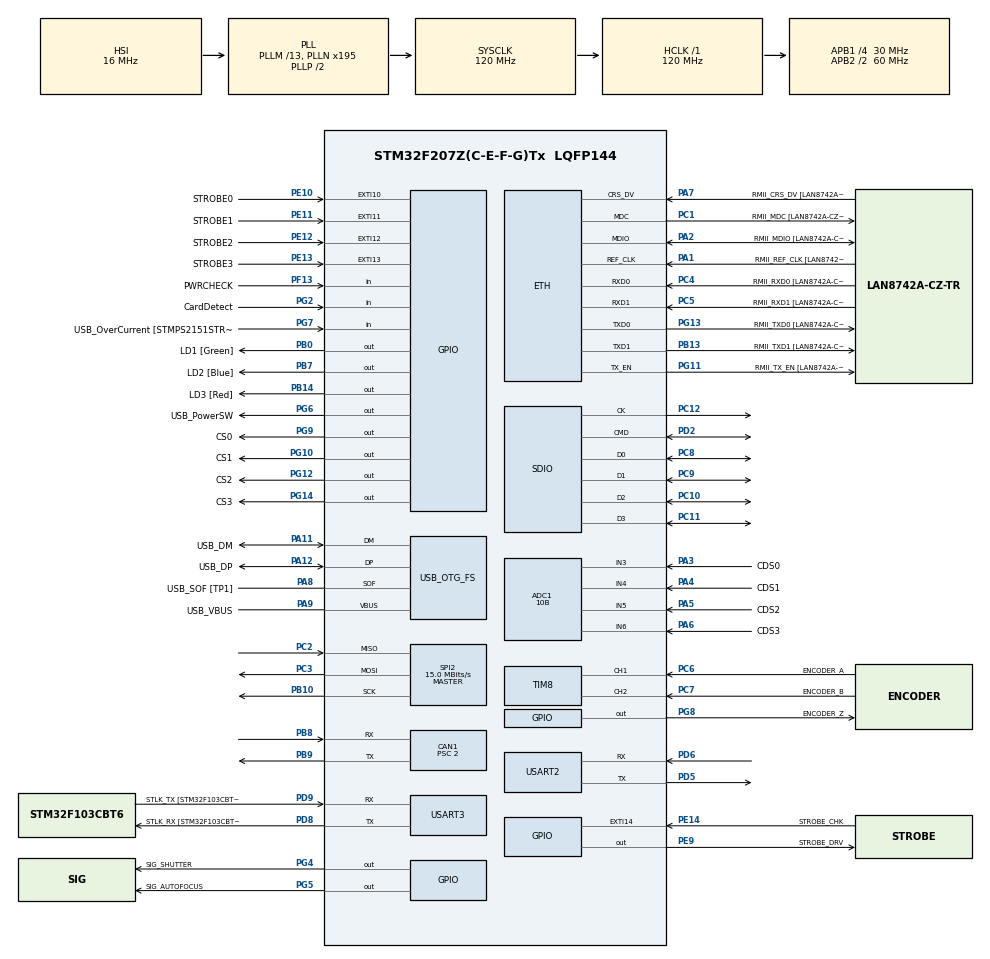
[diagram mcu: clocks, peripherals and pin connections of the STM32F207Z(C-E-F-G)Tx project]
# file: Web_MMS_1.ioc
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ADC1.Channel-0\#ChannelRegularConversion=ADC_CHANNEL_3
ADC1.Channel-1\#ChannelRegularConversion=ADC_CHANNEL_4
ADC1.Channel-2\#ChannelRegularConversion=ADC_CHANNEL_5
ADC1.Channel-3\#ChannelRegularConversion=ADC_CHANNEL_6
ADC1.NbrOfConversion=4
ADC1.NbrOfConversionFlag=1
ADC1.Rank-0\#ChannelRegularConversion=1
ADC1.Rank-1\#ChannelRegularConversion=2
ADC1.Rank-2\#ChannelRegularConversion=3
ADC1.Rank-3\#ChannelRegularConversion=4
ADC1.Resolution=ADC_RESOLUTION_10B
ADC1.SamplingTime-0\#ChannelRegularConversion=ADC_SAMPLETIME_3CYCLES
ADC1.SamplingTime-1\#ChannelRegularConversion=ADC_SAMPLETIME_3CYCLES
ADC1.SamplingTime-2\#ChannelRegularConversion=ADC_SAMPLETIME_3CYCLES
ADC1.SamplingTime-3\#ChannelRegularConversion=ADC_SAMPLETIME_3CYCLES
ADC1.master=1
CAN1.BS1=CAN_BS1_12TQ
CAN1.BS2=CAN_BS2_2TQ
CAN1.CalculateTimeQuantum=66.66666666666667
CAN1.Prescaler=2
Dma.ADC1.0.Direction=DMA_PERIPH_TO_MEMORY
Dma.ADC1.0.FIFOMode=DMA_FIFOMODE_DISABLE
Dma.ADC1.0.Instance=DMA2_Stream0
Dma.ADC1.0.MemDataAlignment=DMA_MDATAALIGN_WORD
Dma.ADC1.0.MemInc=DMA_MINC_ENABLE
Dma.ADC1.0.Mode=DMA_CIRCULAR
Dma.ADC1.0.PeriphDataAlignment=DMA_PDATAALIGN_WORD
Dma.ADC1.0.PeriphInc=DMA_PINC_DISABLE
Dma.ADC1.0.Priority=DMA_PRIORITY_LOW
Dma.Request0=ADC1
Dma.Request1=SDIO_RX
Dma.Request2=SDIO_TX
Dma.Request3=SPI2_RX
Dma.Request4=SPI2_TX
Dma.Request5=USART2_RX
Dma.Request6=USART2_TX
Dma.SDIO_RX.1.Direction=DMA_PERIPH_TO_MEMORY
Dma.SDIO_RX.1.FIFOMode=DMA_FIFOMODE_ENABLE
Dma.SDIO_RX.1.FIFOThreshold=DMA_FIFO_THRESHOLD_FULL
Dma.SDIO_RX.1.Instance=DMA2_Stream3
Dma.SDIO_RX.1.MemBurst=DMA_MBURST_INC4
Dma.SDIO_RX.1.MemDataAlignment=DMA_MDATAALIGN_WORD
Dma.SDIO_RX.1.MemInc=DMA_MINC_ENABLE
Dma.SDIO_RX.1.Mode=DMA_PFCTRL
Dma.SDIO_RX.1.PeriphBurst=DMA_PBURST_INC4
Dma.SDIO_RX.1.PeriphDataAlignment=DMA_PDATAALIGN_WORD
Dma.SDIO_RX.1.PeriphInc=DMA_PINC_DISABLE
Dma.SDIO_RX.1.Priority=DMA_PRIORITY_LOW
Dma.SDIO_TX.2.Direction=DMA_MEMORY_TO_PERIPH
Dma.SDIO_TX.2.FIFOMode=DMA_FIFOMODE_ENABLE
Dma.SDIO_TX.2.FIFOThreshold=DMA_FIFO_THRESHOLD_FULL
Dma.SDIO_TX.2.Instance=DMA2_Stream6
Dma.SDIO_TX.2.MemBurst=DMA_MBURST_INC4
Dma.SDIO_TX.2.MemDataAlignment=DMA_MDATAALIGN_WORD
Dma.SDIO_TX.2.MemInc=DMA_MINC_ENABLE
Dma.SDIO_TX.2.Mode=DMA_PFCTRL
Dma.SDIO_TX.2.PeriphBurst=DMA_PBURST_INC4
Dma.SDIO_TX.2.PeriphDataAlignment=DMA_PDATAALIGN_WORD
Dma.SDIO_TX.2.PeriphInc=DMA_PINC_DISABLE
Dma.SDIO_TX.2.Priority=DMA_PRIORITY_LOW
Dma.SPI2_RX.3.Direction=DMA_PERIPH_TO_MEMORY
Dma.SPI2_RX.3.FIFOMode=DMA_FIFOMODE_DISABLE
Dma.SPI2_RX.3.Instance=DMA1_Stream3
Dma.SPI2_RX.3.MemDataAlignment=DMA_MDATAALIGN_BYTE
Dma.SPI2_RX.3.MemInc=DMA_MINC_ENABLE
Dma.SPI2_RX.3.Mode=DMA_NORMAL
Dma.SPI2_RX.3.PeriphDataAlignment=DMA_PDATAALIGN_BYTE
Dma.SPI2_RX.3.PeriphInc=DMA_PINC_DISABLE
Dma.SPI2_RX.3.Priority=DMA_PRIORITY_LOW
Dma.SPI2_TX.4.Direction=DMA_MEMORY_TO_PERIPH
Dma.SPI2_TX.4.FIFOMode=DMA_FIFOMODE_DISABLE
Dma.SPI2_TX.4.Instance=DMA1_Stream4
Dma.SPI2_TX.4.MemDataAlignment=DMA_MDATAALIGN_BYTE
Dma.SPI2_TX.4.MemInc=DMA_MINC_ENABLE
Dma.SPI2_TX.4.Mode=DMA_NORMAL
Dma.SPI2_TX.4.PeriphDataAlignment=DMA_PDATAALIGN_BYTE
Dma.SPI2_TX.4.PeriphInc=DMA_PINC_DISABLE
Dma.SPI2_TX.4.Priority=DMA_PRIORITY_LOW
Dma.USART2_RX.5.Direction=DMA_PERIPH_TO_MEMORY
Dma.USART2_RX.5.FIFOMode=DMA_FIFOMODE_DISABLE
Dma.USART2_RX.5.Instance=DMA1_Stream5
Dma.USART2_RX.5.MemDataAlignment=DMA_MDATAALIGN_BYTE
Dma.USART2_RX.5.MemInc=DMA_MINC_ENABLE
Dma.USART2_RX.5.Mode=DMA_NORMAL
Dma.USART2_RX.5.PeriphDataAlignment=DMA_PDATAALIGN_BYTE
Dma.USART2_RX.5.PeriphInc=DMA_PINC_DISABLE
Dma.USART2_RX.5.Priority=DMA_PRIORITY_LOW
Dma.USART2_TX.6.Direction=DMA_MEMORY_TO_PERIPH
Dma.USART2_TX.6.FIFOMode=DMA_FIFOMODE_DISABLE
Dma.USART2_TX.6.Instance=DMA1_Stream6
Dma.USART2_TX.6.MemDataAlignment=DMA_MDATAALIGN_BYTE
Dma.USART2_TX.6.MemInc=DMA_MINC_ENABLE
Dma.USART2_TX.6.Mode=DMA_NORMAL
Dma.USART2_TX.6.PeriphDataAlignment=DMA_PDATAALIGN_BYTE
Dma.USART2_TX.6.PeriphInc=DMA_PINC_DISABLE
Dma.USART2_TX.6.Priority=DMA_PRIORITY_LOW
ETH.MediaInterface=ETH_MEDIA_INTERFACE_RMII
ETH.PHY_Name=LAN8742A_PHY_ADDRESS
ETH.PHY_Value=0
ETH.PhyAddress=0
FATFS.BSP.number=1
FATFS._CODE_PAGE=949
FATFS._LFN_UNICODE=1
FATFS._USE_LFN=2
FATFS0.BSP.STBoard=false
FATFS0.BSP.api=Unknown
FATFS0.BSP.i2caddr=0
FATFS0.BSP.instance=PG2
FATFS0.BSP.ip=GPIO
FATFS0.BSP.mode=Input
FATFS0.BSP.name=Detect_SDIO
FATFS0.BSP.solution=PG2
LWIP.GATEWAY_ADDRESS=192.168.001.001
LWIP.IP_ADDRESS=192.168.001.230
LWIP.LWIP_DHCP=0
LWIP.LWIP_ICMP=1
LWIP.LWIP_TCP=0
LWIP.NETMASK_ADDRESS=255.255.255.000
LWIP.Version=v2.0.3_Cube
Mcu.Family=STM32F2
Mcu.Name=STM32F207Z(C-E-F-G)Tx
Mcu.Package=LQFP144
NVIC.ADC_IRQn=true\:1\:0\:true\:false\:true\:true\:true
NVIC.CAN1_RX0_IRQn=true\:1\:0\:true\:false\:true\:true\:true
NVIC.CAN1_RX1_IRQn=true\:1\:0\:true\:false\:true\:true\:true
NVIC.CAN1_SCE_IRQn=true\:1\:0\:true\:false\:true\:true\:true
NVIC.CAN1_TX_IRQn=true\:1\:0\:true\:false\:true\:true\:true
NVIC.DMA1_Stream3_IRQn=true\:1\:0\:true\:false\:true\:false\:true
NVIC.DMA1_Stream4_IRQn=true\:1\:0\:true\:false\:true\:false\:true
NVIC.DMA1_Stream5_IRQn=true\:1\:0\:true\:false\:true\:false\:true
NVIC.DMA1_Stream6_IRQn=true\:1\:0\:true\:false\:true\:false\:true
NVIC.DMA2_Stream0_IRQn=true\:1\:0\:true\:false\:true\:false\:true
NVIC.DMA2_Stream3_IRQn=true\:1\:0\:true\:false\:true\:false\:true
NVIC.DMA2_Stream6_IRQn=true\:1\:0\:true\:false\:true\:false\:true
NVIC.ETH_IRQn=true\:1\:0\:true\:false\:true\:true\:true
NVIC.ETH_WKUP_IRQn=true\:1\:0\:true\:false\:true\:true\:true
NVIC.EXTI15_10_IRQn=true\:0\:0\:true\:false\:true\:true\:true
NVIC.OTG_FS_IRQn=true\:1\:0\:true\:false\:true\:false\:true
NVIC.PriorityGroup=NVIC_PRIORITYGROUP_4
NVIC.SDIO_IRQn=true\:1\:0\:true\:false\:true\:true\:true
NVIC.SPI2_IRQn=true\:1\:0\:true\:false\:true\:true\:true
NVIC.TIM3_IRQn=true\:1\:0\:true\:false\:true\:true\:true
NVIC.USART2_IRQn=true\:1\:0\:true\:false\:true\:true\:true
PA1.GPIO_Label=RMII_REF_CLK [LAN8742A-CZ-TR_REFCLK0]
PA1.Mode=RMII
PA1.Signal=ETH_REF_CLK
PA10.GPIO_Label=USB_ID
PA10.Signal=USB_OTG_FS_ID
PA11.GPIO_Label=USB_DM
PA11.Mode=Device_Only
PA11.Signal=USB_OTG_FS_DM
PA12.GPIO_Label=USB_DP
PA12.Mode=Device_Only
PA12.Signal=USB_OTG_FS_DP
PA13.GPIO_Label=TMS
PA13.Mode=Serial_Wire
PA13.Signal=SYS_JTMS-SWDIO
PA14.GPIO_Label=TCK
PA14.Mode=Serial_Wire
PA14.Signal=SYS_JTCK-SWCLK
PA2.GPIO_Label=RMII_MDIO [LAN8742A-CZ-TR_MDIO]
PA2.Mode=RMII
PA2.Signal=ETH_MDIO
PA3.GPIO_Label=CDS0
PA3.Signal=ADCx_IN3
PA4.GPIO_Label=CDS1
PA4.Signal=ADCx_IN4
PA5.GPIO_Label=CDS2
PA5.Signal=ADCx_IN5
PA6.GPIO_Label=CDS3
PA6.Signal=ADCx_IN6
PA7.GPIO_Label=RMII_CRS_DV [LAN8742A-CZ-TR_CRS_DV]
PA7.Mode=RMII
PA7.Signal=ETH_CRS_DV
PA8.GPIO_Label=USB_SOF [TP1]
PA8.Mode=Activate_SOF_FS
PA8.Signal=USB_OTG_FS_SOF
PA9.GPIO_Label=USB_VBUS
PA9.Mode=Activate_VBUS
PA9.Signal=USB_OTG_FS_VBUS
PB0.GPIO_Label=LD1 [Green]
PB0.GPIO_Speed=GPIO_SPEED_FREQ_VERY_HIGH
PB0.Signal=GPIO_Output
PB10.Mode=Full_Duplex_Master
PB10.Signal=SPI2_SCK
PB13.GPIO_Label=RMII_TXD1 [LAN8742A-CZ-TR_TXD1]
PB13.Mode=RMII
PB13.Signal=ETH_TXD1
PB14.GPIO_Label=LD3 [Red]
PB14.GPIO_Speed=GPIO_SPEED_FREQ_VERY_HIGH
PB14.Signal=GPIO_Output
PB3.GPIO_Label=SWO
PB3.Signal=SYS_JTDO-SWO
PB7.GPIO_Label=LD2 [Blue]
PB7.GPIO_Speed=GPIO_SPEED_FREQ_VERY_HIGH
PB7.Signal=GPIO_Output
PB8.Mode=Master
PB8.Signal=CAN1_RX
PB9.Mode=Master
PB9.Signal=CAN1_TX
PC1.GPIO_Label=RMII_MDC [LAN8742A-CZ-TR_MDC]
PC1.Mode=RMII
PC1.Signal=ETH_MDC
PC10.GPIO_PuPd=GPIO_PULLUP
PC10.Mode=SD_4_bits_Wide_bus
PC10.Signal=SDIO_D2
PC11.GPIO_PuPd=GPIO_PULLUP
PC11.Mode=SD_4_bits_Wide_bus
PC11.Signal=SDIO_D3
PC12.GPIO_PuPd=GPIO_NOPULL
PC12.Mode=SD_4_bits_Wide_bus
PC12.Signal=SDIO_CK
PC14-OSC32_IN.Mode=LSE-External-Oscillator
PC14-OSC32_IN.Signal=RCC_OSC32_IN
PC15-OSC32_OUT.Mode=LSE-External-Oscillator
PC15-OSC32_OUT.Signal=RCC_OSC32_OUT
PC2.Mode=Full_Duplex_Master
PC2.Signal=SPI2_MISO
PC3.Mode=Full_Duplex_Master
PC3.Signal=SPI2_MOSI
PC4.GPIO_Label=RMII_RXD0 [LAN8742A-CZ-TR_RXD0]
PC4.Mode=RMII
PC4.Signal=ETH_RXD0
PC5.GPIO_Label=RMII_RXD1 [LAN8742A-CZ-TR_RXD1]
PC5.Mode=RMII
PC5.Signal=ETH_RXD1
PC6.GPIO_Label=ENCODER_A
PC6.Signal=S_TIM8_CH1
PC7.GPIO_Label=ENCODER_B
PC7.Signal=S_TIM8_CH2
PC8.GPIO_PuPd=GPIO_PULLUP
PC8.Mode=SD_4_bits_Wide_bus
PC8.Signal=SDIO_D0
PC9.GPIO_PuPd=GPIO_PULLUP
PC9.Mode=SD_4_bits_Wide_bus
PC9.Signal=SDIO_D1
PD2.GPIO_PuPd=GPIO_PULLUP
PD2.Mode=SD_4_bits_Wide_bus
PD2.Signal=SDIO_CMD
PD5.Mode=Asynchronous
PD5.Signal=USART2_TX
PD6.Mode=Asynchronous
PD6.Signal=USART2_RX
PD8.GPIO_Label=STLK_RX [STM32F103CBT6_PA3]
PD8.Mode=Asynchronous
PD8.Signal=USART3_TX
PD9.GPIO_Label=STLK_TX [STM32F103CBT6_PA2]
PD9.Mode=Asynchronous
PD9.Signal=USART3_RX
PE10.GPIO_Label=STROBE0
PE10.Signal=GPXTI10
PE11.GPIO_Label=STROBE1
PE11.Signal=GPXTI11
PE12.GPIO_Label=STROBE2
PE12.Signal=GPXTI12
PE13.GPIO_Label=STROBE3
PE13.Signal=GPXTI13
PE14.GPIO_Label=STROBE_CHK
PE14.Signal=GPXTI14
PE9.GPIO_Label=STROBE_DRV
PE9.GPIO_Speed=GPIO_SPEED_FREQ_VERY_HIGH
PE9.Signal=GPIO_Output
PF13.GPIO_Label=PWRCHECK
PF13.GPIO_PuPd=GPIO_PULLDOWN
PF13.Signal=GPIO_Input
PG10.GPIO_Label=CS1
PG10.Signal=GPIO_Output
PG11.GPIO_Label=RMII_TX_EN [LAN8742A-CZ-TR_TXEN]
PG11.Mode=RMII
PG11.Signal=ETH_TX_EN
PG12.GPIO_Label=CS2
PG12.Signal=GPIO_Output
PG13.GPIO_Label=RMII_TXD0 [LAN8742A-CZ-TR_TXD0]
PG13.Mode=RMII
PG13.Signal=ETH_TXD0
PG14.GPIO_Label=CS3
PG14.Signal=GPIO_Output
PG2.GPIO_Label=CardDetect
PG2.GPIO_PuPd=GPIO_PULLUP
PG2.Signal=GPIO_Input
PG4.GPIO_Label=SIG_SHUTTER
PG4.GPIO_Speed=GPIO_SPEED_FREQ_VERY_HIGH
PG4.Signal=GPIO_Output
PG5.GPIO_Label=SIG_AUTOFOCUS
PG5.Signal=GPIO_Output
PG6.GPIO_Label=USB_PowerSW
PG6.Signal=GPIO_Output
PG7.GPIO_Label=USB_OverCurrent [STMPS2151STR_FAULT]
PG7.Signal=GPIO_Input
PG8.GPIO_Label=ENCODER_Z
PG8.Signal=GPIO_Output
PG9.GPIO_Label=CS0
PG9.Signal=GPIO_Output
PH0-OSC_IN.GPIO_Label=MCO [STM32F103CBT6_PA8]
PH0-OSC_IN.Mode=HSE-External-Clock-Source
PH0-OSC_IN.Signal=RCC_OSC_IN
PH1-OSC_OUT.Mode=HSE-External-Clock-Source
PH1-OSC_OUT.Signal=RCC_OSC_OUT
ProjectManager.HeapSize=0x400
ProjectManager.StackSize=0x400
ProjectManager.TargetToolchain=MDK-ARM V5.27
RCC.48MHZClocksFreq_Value=48000000
RCC.AHBFreq_Value=120000000
RCC.APB1CLKDivider=RCC_HCLK_DIV4
RCC.APB1Freq_Value=30000000
RCC.APB1TimFreq_Value=60000000
RCC.APB2CLKDivider=RCC_HCLK_DIV2
RCC.APB2Freq_Value=60000000
RCC.APB2TimFreq_Value=120000000
RCC.CortexFreq_Value=120000000
RCC.HCLKFreq_Value=120000000
RCC.HSE_VALUE=8000000
RCC.HSI_VALUE=16000000
RCC.PLLM=13
RCC.PLLMUL=RCC_PLL_MUL9
RCC.PLLN=195
RCC.PLLQ=5
RCC.PRESCALERUSB=RCC_USBCLKSOURCE_PLL_DIV1_5
RCC.SYSCLKFreq_VALUE=120000000
RCC.SYSCLKSource=RCC_SYSCLKSOURCE_PLLCLK
RCC.SYSCLKSourceVirtual=RCC_SYSCLKSOURCE_PLLCLK
RCC.USBFreq_Value=48000000
RCC.VCOOutputFreq_Value=240000000
SDIO.ClockDiv=1
SH.ADCx_IN3.0=ADC1_IN3,IN3
SH.ADCx_IN4.0=ADC1_IN4,IN4
SH.ADCx_IN5.0=ADC1_IN5,IN5
SH.ADCx_IN6.0=ADC1_IN6,IN6
SH.S_TIM8_CH1.0=TIM8_CH1,Encoder_Interface
SH.S_TIM8_CH2.0=TIM8_CH2,Encoder_Interface
SPI2.CalculateBaudRate=15.0 MBits/s
SPI2.Direction=SPI_DIRECTION_2LINES
SPI2.Mode=SPI_MODE_MASTER
SPI2.VirtualType=VM_MASTER
TIM3.Period=44
TIM3.Prescaler=5999
TIM8.AutoReloadPreload=TIM_AUTORELOAD_PRELOAD_ENABLE
TIM8.EncoderMode=TIM_ENCODERMODE_TI1
USART2.VirtualMode=VM_ASYNC
USART3.VirtualMode=VM_ASYNC
USB_DEVICE.APP_RX_DATA_SIZE-CDC_FS=200
USB_DEVICE.APP_TX_DATA_SIZE-CDC_FS=200
USB_DEVICE.CLASS_NAME_FS=CDC
USB_DEVICE.MANUFACTURER_STRING-CDC_FS=Stryx.Inc
USB_DEVICE.PRODUCT_STRING_CDC_FS=WebMMS_Main
USB_DEVICE.VirtualMode-CDC_FS=Cdc
USB_DEVICE.VirtualModeFS=Cdc_FS
USB_OTG_FS.VirtualMode=Device_Only
VP_FATFS_VS_SDIO.Mode=SDIO
VP_LWIP_VS_Enabled.Mode=Enabled
VP_TIM3_VS_ClockSourceINT.Mode=Internal
VP_USB_DEVICE_VS_USB_DEVICE_CDC_FS.Mode=CDC_FS
board=NUCLEO-F207ZG

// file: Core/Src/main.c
/* USER CODE BEGIN Header */
/**
 ******************************************************************************
 * @file           : main.c
 * @brief          : Main program body
 ******************************************************************************
 * @attention
 *
 * <h2><center>&copy; Copyright (c) 2020 STMicroelectronics.
 * All rights reserved.</center></h2>
 *
 * This software component is licensed by ST under BSD 3-Clause license,
 * the "License"; You may not use this file except in compliance with the
 * License. You may obtain a copy of the License at:
 *                        opensource.org/licenses/BSD-3-Clause
 *
 ******************************************************************************
 */
/* USER CODE END Header */
#include "main.h"
#include "fatfs.h"
#include "lwip.h"
#include "usb_device.h"

/* USER CODE BEGIN Includes */
#include <stdio.h>
#include <stdbool.h>
#include <string.h>
#include <stdlib.h>

/* USER CODE END Includes */

/* USER CODE BEGIN PTD */
typedef struct _paramType
{
	//uint32_t encoderPulseCount;
	float wheelRadius; // S version
	//float targetDistance;
	int encoderTargetCount; // I version add
	uint8_t cs;
	uint16_t cv[4];
} __attribute__((aligned(1), packed)) WheelParam;
/* USER CODE END PTD */

/* USER CODE BEGIN PD */
#define BACKUP_FLASH_ADDR 0x080E0000

#define TARGET_PULSE_NUMBER		1

#define DIVISOR					1

#define ENCODER_PULSE_COUNT		2000

#define TARGET_DISTANCE			1.0f
/* USER CODE END PD */

ADC_HandleTypeDef hadc1;
DMA_HandleTypeDef hdma_adc1;

CAN_HandleTypeDef hcan1;

SD_HandleTypeDef hsd;
DMA_HandleTypeDef hdma_sdio_rx;
DMA_HandleTypeDef hdma_sdio_tx;

SPI_HandleTypeDef hspi2;
DMA_HandleTypeDef hdma_spi2_rx;
DMA_HandleTypeDef hdma_spi2_tx;

TIM_HandleTypeDef htim8;

UART_HandleTypeDef huart2;
UART_HandleTypeDef huart3;
DMA_HandleTypeDef hdma_usart2_rx;
DMA_HandleTypeDef hdma_usart2_tx;

/* USER CODE BEGIN PV */

extern struct netif gnetif;

// CAN BUS
CAN_FilterTypeDef sFilterConfig;
CAN_RxHeaderTypeDef RxHeader;
CAN_TxHeaderTypeDef TxHeader;
uint8_t RxData[8];
uint8_t TxData[8]; // uint8_t TxData[8];
uint32_t TxMailBox;

//SD CARD
FATFS SDFatFs; /* File system object for SD disk logical drive */
FIL MyFile; /* File object */
extern char SDPath[4]; /* SD disk logical drive path */
static uint8_t buffer[_MAX_SS]; /* a work buffer for the f_mkfs() */

// DMI
int16_t A_PLS_CNT = 0, B_PLS_CNT = 0;

// USB
bool bFlag = false;
uint8_t UFlag = 0, EnterFlag = 0; // USB Select Flag, Enter key input
char UTxbuf[300], buf[130]; // USB Tx, ADC print buf
extern uint8_t URxbuf[200]; // USB Rx
int usbselect = 2;

// Encoder, ADC, STROBE
uint8_t setcdsvalue;
int adcValue[4]; // ADC DATA SAVE int encoderTargetCount = -1;
uint16_t stb0, stb1, stb2, stb3, stb_all; // STROBE Count
uint8_t stbchk0, stbchk1, stbchk2, stbchk3; // STROBE CHECK FLAG

// UDP FLAG
extern uint8_t udp_flag;
extern uint8_t udp_data;
uint8_t udpIntput = 0;
uint8_t udpStop = 0;

// Camera
uint8_t cameraSelect = 0;
uint8_t cameraValue = 0;

/* USER CODE END PV */

void SystemClock_Config(void);
static void MX_GPIO_Init(void);
static void MX_DMA_Init(void);
static void MX_USART3_UART_Init(void);
static void MX_TIM3_Init(void);
static void MX_ADC1_Init(void);
static void MX_SDIO_SD_Init(void);
static void MX_TIM8_Init(void);
static void MX_SPI2_Init(void);
static void MX_CAN1_Init(void);
static void MX_USART2_UART_Init(void);

/* USER CODE BEGIN 0 */
void HAL_GPIO_EXTI_Callback(uint16_t GPIO_Pin)
{ // Strobe CHK
	if (GPIO_Pin & STROBE0_Pin) // 0x400
	{
		//HAL_GPIO_TogglePin(LD1_GPIO_Port, LD1_Pin);
		stbchk0 = 1;
		stb0++;
	}
	if (GPIO_Pin & STROBE1_Pin) // 0x800
	{
		HAL_GPIO_TogglePin(LD2_GPIO_Port, LD2_Pin);
		stbchk1 = 1;
		stb1++;
	}
	/*
	 if (GPIO_Pin & STROBE2_Pin) // 0x1000
	 {
	 HAL_GPIO_TogglePin(LD3_GPIO_Port, LD3_Pin);
	 stbchk2 = 1;
	 stb2++;
	 }
	 if (GPIO_Pin & STROBE3_Pin) // 0x2000
	 {
	 stbchk3 = 1;
	 stb3++;
	 }

	 if (GPIO_Pin & STROBE_CHK_Pin) // 0x4000
	 {
	 stb_all++;
	 HAL_GPIO_WritePin(STROBE_DRV_GPIO_Port, STROBE_DRV_Pin, SET);
	 }
	 */
	if (stbchk0 == 1 && stbchk1 == 1) // if (stbchk0 == 1 && stbchk1 == 1 && stbchk2 == 1 && stbchk3 == 1)
	{
		HAL_GPIO_TogglePin(LD1_GPIO_Port, LD1_Pin);
		//HAL_GPIO_WritePin(LD1_GPIO_Port, LD1_Pin, SET);
		HAL_GPIO_WritePin(STROBE_DRV_GPIO_Port, STROBE_DRV_Pin, SET);
		stbchk0 = 0;
		stbchk1 = 0;
		stbchk2 = 0;
		stbchk3 = 0;
	}
}

void CAN_Transmit(int data)
{
	TxMailBox = HAL_CAN_GetTxMailboxesFreeLevel(&hcan1);
	/*
	 for (int i = 0; i < 8; i++)
	 {
	 TxData[i] = i + 1;
	 }
	 */
	TxData[0] = data;
	HAL_CAN_AddTxMessage(&hcan1, &TxHeader, TxData, &TxMailBox);
}

void HAL_CAN_RxFifo0MsgPendingCallback(CAN_HandleTypeDef *hcan1)
{

	RxHeader.StdId = 0;         //clear
	HAL_CAN_GetRxMessage(hcan1, CAN_RX_FIFO0, &RxHeader, &RxData[0]);
	if (RxData[0] == 0x01)
	{
		//xFlag = 'a';
		CDC_Transmit_FS((uint8_t*) "USB2 Activated\r\n", 16);
		//HAL_GPIO_TogglePin(STATUS_LED_GPIO_Port, STATUS_LED_Pin);
	}
	if (RxData[0] == 0x02)
	{
		//xFlag = 'b';
		CDC_Transmit_FS((uint8_t*) "USB3 Activated\r\n", 16);
		//HAL_GPIO_TogglePin(STATUS_LED_GPIO_Port, STATUS_LED_Pin);
	}
	//HAL_GPIO_TogglePin(STATUS_LED_GPIO_Port, STATUS_LED_Pin);

	if ((RxHeader.StdId == 0x111) && (RxHeader.IDE == CAN_ID_STD)
			&& (RxHeader.DLC != 0))
	{
		//HAL_GPIO_TogglePin(STATUS_LED_GPIO_Port, STATUS_LED_Pin);
	}
}

void Camera_Configuration(uint8_t camera, uint16_t value)
{
	// SPI 1. CS pin reset >> SPI Transmit >> CS pin set
	switch (camera)
	{
	case 0:
		HAL_GPIO_WritePin(CS0_GPIO_Port, CS0_Pin, RESET);
		HAL_SPI_Transmit(&hspi2, &value, 2, 1000);
		HAL_GPIO_WritePin(CS0_GPIO_Port, CS0_Pin, SET);
		break;
	case 1:
		HAL_GPIO_WritePin(CS1_GPIO_Port, CS1_Pin, RESET);
		HAL_SPI_Transmit(&hspi2, &value, 2, 1000);
		HAL_GPIO_WritePin(CS1_GPIO_Port, CS1_Pin, SET);
		break;
	case 2:
		HAL_GPIO_WritePin(CS2_GPIO_Port, CS2_Pin, RESET);
		HAL_SPI_Transmit(&hspi2, &value, 2, 1000);
		HAL_GPIO_WritePin(CS2_GPIO_Port, CS2_Pin, SET);
		break;
	case 3:
		HAL_GPIO_WritePin(CS3_GPIO_Port, CS3_Pin, RESET);
		HAL_SPI_Transmit(&hspi2, &value, 2, 1000);
		HAL_GPIO_WritePin(CS3_GPIO_Port, CS3_Pin, SET);
		break;
	default:
		break;
	}
}

void UDP_INPUT()
{
	if (udp_data == 'i')
	{
		udp_data = 0;
		udpIntput = 1;
		CDC_Transmit_FS((uint8_t*) "INPUT MODE Activated\r\n", 22);
	}
	else if (udp_data == 's')
	{
		udp_data = 0;
		udpIntput = 0;
	}
	if (udp_flag)
	{
		WheelParam wP;
		wP.encoderTargetCount = atoi(&udp_data);
		udp_flag = 0;
	}
}

void DSLR_Action()
{
	HAL_GPIO_WritePin(SIG_AUTOFOCUS_GPIO_Port, SIG_AUTOFOCUS_Pin, SET);
	HAL_GPIO_WritePin(SIG_SHUTTER_GPIO_Port, SIG_SHUTTER_Pin, SET);
	HAL_GPIO_WritePin(STROBE_DRV_GPIO_Port, STROBE_DRV_Pin, RESET);
	//HAL_Delay(10);
	//HAL_GPIO_WritePin(SIG_AUTOFOCUS_GPIO_Port, SIG_AUTOFOCUS_Pin, RESET);
	//HAL_GPIO_WritePin(SIG_SHUTTER_GPIO_Port, SIG_SHUTTER_Pin, RESET);
	LL_TIM_ClearFlag_UPDATE(TIM3);
	LL_TIM_EnableCounter(TIM3);
}

void FLIR_Action()
{
	HAL_GPIO_WritePin(SIG_SHUTTER_GPIO_Port, SIG_SHUTTER_Pin, SET);
	HAL_GPIO_WritePin(STROBE_DRV_GPIO_Port, STROBE_DRV_Pin, RESET);
}

void ADC_Print()
{
	HAL_ADC_Start_DMA(&hadc1, adcValue, 4);
	for (int i = 0; i < 4; i++)
	{
		HAL_DMA_PollForTransfer(&hdma_adc1, HAL_DMA_FULL_TRANSFER, 1000);
	}
	HAL_ADC_Stop_DMA(&hadc1);
	switch (setcdsvalue)
	{
	case 1:
		break;
		sprintf(buf, "#%04d\r\n", adcValue[0]);
	case 2:
		break;
		sprintf(buf, "#%04d%04d\r\n", adcValue[0], adcValue[1]);
	case 3:
		break;
		sprintf(buf, "#%04d%04d%04d\r\n", adcValue[0], adcValue[1],
				adcValue[2]);
	case 4:
		break;
		sprintf(buf, "#%04d%04d%04d%04d\r\n", adcValue[0], adcValue[1],
				adcValue[2], adcValue[3]);
	default:
		sprintf(buf, "#%04d%04d\r\n", adcValue[0], adcValue[1]);
		break;
	}
//sprintf(buf, "ADC = %04d   %04d   %04d   %04d\r\n", adcValue[0],
//	adcValue[1], adcValue[2], adcValue[3]);
	CDC_Transmit_FS(buf, strlen(buf));
}

float diameter(float radius)
{
	return (2 * 3.1415 * radius);
}

float rotationForShoot(float targetDistance, float wheelDiameter)
{
	return (targetDistance / wheelDiameter);
}

int targetPulseCount(float rotationCount, int encoderPulseCnt)
{
	return (int) ((((rotationCount * encoderPulseCnt) / TARGET_PULSE_NUMBER)
			/ DIVISOR));
}

void SaveWheelParam(WheelParam *wP)
{
	HAL_StatusTypeDef FlashStatus = HAL_OK;
	HAL_FLASH_Unlock();
	{
		FLASH_EraseInitTypeDef fler;
		uint32_t perr;
		fler.TypeErase = FLASH_TYPEERASE_SECTORS;
		fler.Banks = FLASH_BANK_1;
		fler.Sector = FLASH_SECTOR_11;
		fler.NbSectors = 1;

		HAL_FLASHEx_Erase(&fler, &perr);
		register uint32_t *_targetAddr = (uint32_t*) (wP);
		for (uint8_t i = 0; i <= (sizeof(WheelParam) * 2); i +=
				sizeof(uint32_t))
		{
			//FlashStatus = HAL_FLASH_Program(FLASH_TYPEPROGRAM_WORD,
			//BACKUP_FLASH_ADDR + i, _targetAddr[i / sizeof(uint32_t)]);

			while (HAL_FLASH_Program(FLASH_TYPEPROGRAM_WORD,
			BACKUP_FLASH_ADDR + i, _targetAddr[i / sizeof(uint32_t)]) != HAL_OK)
				;

		}
	}
	HAL_FLASH_Lock();
}
/* USER CODE END 0 */

int main(void)
{
	/* USER CODE BEGIN 1 */
//char buf[150];
	WheelParam wP;
	memcpy(&wP, (void*) (BACKUP_FLASH_ADDR), sizeof(WheelParam));

	stb0 = 0;
	stb1 = 0;
	stb2 = 0;
	stb3 = 0;
	stb_all = 0;
	/* USER CODE END 1 */

	/* MCU Configuration--------------------------------------------------------*/

	/* Reset of all peripherals, Initializes the Flash interface and the Systick. */
	HAL_Init();

	/* Configure the system clock */
	SystemClock_Config();

	/* Initialize all configured peripherals */
	MX_GPIO_Init();
	MX_DMA_Init();
	MX_USART3_UART_Init();
	MX_USB_DEVICE_Init();
	MX_TIM3_Init();
	MX_ADC1_Init();
	MX_SDIO_SD_Init();
	MX_TIM8_Init();
	MX_FATFS_Init();
	MX_LWIP_Init();
	MX_SPI2_Init();
	MX_CAN1_Init();
	MX_USART2_UART_Init();
	/* USER CODE BEGIN 2 */
	LL_TIM_EnableIT_UPDATE(TIM3);
	HAL_TIM_Encoder_Start(&htim8, TIM_CHANNEL_1); // DMI TIMER
	udp_echoserver_init(); // UDP

	HAL_CAN_Start(&hcan1); // CANBUS
	HAL_CAN_ActivateNotification(&hcan1, CAN_IT_RX_FIFO0_MSG_PENDING);
	for (int i = 0; i < 4; i += 1)
	{
		Camera_Configuration(i, wP.cv[i]);
		HAL_Delay(10);
	}

	/* USER CODE END 2 */

	/* Infinite loop */
	/* USER CODE BEGIN WHILE */
	UFlag = 0;
	bFlag = 0;
	/*
	 encoderTargetCount = targetPulseCount(
	 rotationForShoot(TARGET_DISTANCE, diameter(wP.wheelRadius)),
	 ENCODER_PULSE_COUNT);
	 */
	while (1)
	{
		/* USER CODE END WHILE */

		/* USER CODE BEGIN 3 */
		// WebMMS S Version
		MX_LWIP_Process();
		UDP_INPUT();
		//Camera_Configuration(cameraSelect, cameraValue);
		switch (UFlag)
		{
		/* I version */
		case 1:
			sprintf(UTxbuf, "EncoderTargetCount= %d\r\n"
					"Chip 0 ~ 3 Value= %d %d %d %d\r\n\r\n"
					"USB Select= %d.0 (default : 2.0)\r\n"
					"Auto triggering= %s\r\n", wP.encoderTargetCount, wP.cv[0],
					wP.cv[1], wP.cv[2], wP.cv[3], usbselect,
					(bFlag == true) ? ("Started\r\n") : ("Disabled\r\n"));
			CDC_Transmit_FS(UTxbuf, strlen(UTxbuf));
			UFlag = 0;
			bFlag = 0;
			break;
		case 2:
			CDC_Transmit_FS((uint8_t*) "Input EncoderTargetCount\r\n", 26);
			while (!EnterFlag)
			{
			}
			EnterFlag = 0;
			wP.encoderTargetCount = atoi(URxbuf);
			UFlag = 0;
			bFlag = 0;
			break;

			/*
			 * S version
			 case 1:
			 sprintf(UTxbuf, "EncoderPulseCnt= %lu\r\n"
			 "Wheel Radius= %0.5f\r\n"
			 "Trigger Distance= %0.2f\r\n"
			 "Target pulse count= %d\r\n\r\n"
			 "Chip 0 ~ 3 Value= %d %d %d %d\r\n\r\n"
			 "USB Select= %d.0 (default : 2.0)\r\n"
			 "Auto triggering= %s\r\n", ENCODER_PULSE_COUNT,
			 wP.wheelRadius, TARGET_DISTANCE, encoderTargetCount,
			 wP.cv[0], wP.cv[1], wP.cv[2], wP.cv[3], usbselect,
			 (bFlag == true) ?
			 ("Started\r\n\r\n") : ("Disabled\r\n\r\n"));
			 CDC_Transmit_FS(UTxbuf, strlen(UTxbuf));
			 UFlag = 0;
			 break;
			 case 2:	//set wheel param
			 CDC_Transmit_FS("Input wheel radius.. > ", 23);
			 while (!EnterFlag)
			 ;
			 EnterFlag = 0;
			 wP.wheelRadius = atof(URxbuf);
			 encoderTargetCount = targetPulseCount(
			 rotationForShoot(TARGET_DISTANCE, diameter(wP.wheelRadius)),
			 ENCODER_PULSE_COUNT);
			 UFlag = 0;
			 break;
			 */

			/*
			 case 3:	//set encoder pulse count;
			 CDC_Transmit_FS("Input encoder pulse cnt.. > ", 28);
			 while (!EnterFlag)
			 ;
			 EnterFlag = 0;
			 wP.encoderPulseCount = atoi(URxbuf);
			 if (wP.encoderPulseCount == 0)
			 {
			 break;
			 }
			 encoderTargetCount = targetPulseCount(
			 rotationForShoot(wP.targetDistance,
			 diameter(wP.wheelRadius)), wP.encoderPulseCount);
			 UFlag = 0;
			 break;
			 case 4:	//set trigger distance
			 CDC_Transmit_FS("Input trigger distance(m) > ", 28);
			 while (!EnterFlag)
			 ;
			 EnterFlag = 0;
			 wP.targetDistance = atof(URxbuf);
			 encoderTargetCount = targetPulseCount(
			 rotationForShoot(wP.targetDistance,
			 diameter(wP.wheelRadius)), wP.encoderPulseCount);
			 UFlag = 0;
			 break;
			 */
		case 5:
			CDC_Transmit_FS("Camera Configuration Select > ", 30);
			while (!EnterFlag)
				;
			wP.cs = atoi(URxbuf);
			EnterFlag = 0;
			UFlag = 0;
			break;
		case 6:
			CDC_Transmit_FS("Camera Configuration Value > ", 29);
			while (!EnterFlag)
				;
			wP.cv[wP.cs] = atoi(URxbuf);
			Camera_Configuration(wP.cs, wP.cv[wP.cs]);
			EnterFlag = 0;
			UFlag = 0;
			break;
		case 7:
			CDC_Transmit_FS("Saving current param...\r\n", 25);
			SaveWheelParam(&wP);
			UFlag = 0;
			break;
		case 8:
			CDC_Transmit_FS("USB Select 2.0\r\n", 14);
			usbselect = 2;
			CAN_Transmit(usbselect); // CAN_Transmit(atoi(URxbuf));
			UFlag = 0;
			break;
		case 9:
			CDC_Transmit_FS("USB Select 3.0\r\n", 14);
			usbselect = 3;
			CAN_Transmit(usbselect); // CAN_Transmit(atoi(URxbuf));
			UFlag = 0;
			break;

		default:
			UFlag = 0;
		}
		if (bFlag == 1)
		{
			A_PLS_CNT = TIM8->CNT;

			if (A_PLS_CNT >= wP.encoderTargetCount)
			{
				TIM8->CNT = 0;
				//DSLR_Action(); // Driver Control
				FLIR_Action(); // Driver Control
				ADC_Print();
			}
			else if (A_PLS_CNT <= 0)
			{
				A_PLS_CNT = 0;
				//B_PLS_CNT = 0;
				TIM8->CNT = 0;
			}
		}
	}
	/* USER CODE END 3 */
}

void SystemClock_Config(void)
{
	RCC_OscInitTypeDef RCC_OscInitStruct =
	{ 0 };
	RCC_ClkInitTypeDef RCC_ClkInitStruct =
	{ 0 };

	/** Initializes the RCC Oscillators according to the specified parameters
	 * in the RCC_OscInitTypeDef structure.
	 */
	RCC_OscInitStruct.OscillatorType = RCC_OSCILLATORTYPE_HSI;
	RCC_OscInitStruct.HSIState = RCC_HSI_ON;
	RCC_OscInitStruct.HSICalibrationValue = RCC_HSICALIBRATION_DEFAULT;
	RCC_OscInitStruct.PLL.PLLState = RCC_PLL_ON;
	RCC_OscInitStruct.PLL.PLLSource = RCC_PLLSOURCE_HSI;
	RCC_OscInitStruct.PLL.PLLM = 13;
	RCC_OscInitStruct.PLL.PLLN = 195;
	RCC_OscInitStruct.PLL.PLLP = RCC_PLLP_DIV2;
	RCC_OscInitStruct.PLL.PLLQ = 5;
	if (HAL_RCC_OscConfig(&RCC_OscInitStruct) != HAL_OK)
	{
		Error_Handler();
	}
	/** Initializes the CPU, AHB and APB buses clocks
	 */
	RCC_ClkInitStruct.ClockType = RCC_CLOCKTYPE_HCLK | RCC_CLOCKTYPE_SYSCLK
			| RCC_CLOCKTYPE_PCLK1 | RCC_CLOCKTYPE_PCLK2;
	RCC_ClkInitStruct.SYSCLKSource = RCC_SYSCLKSOURCE_PLLCLK;
	RCC_ClkInitStruct.AHBCLKDivider = RCC_SYSCLK_DIV1;
	RCC_ClkInitStruct.APB1CLKDivider = RCC_HCLK_DIV4;
	RCC_ClkInitStruct.APB2CLKDivider = RCC_HCLK_DIV2;

	if (HAL_RCC_ClockConfig(&RCC_ClkInitStruct, FLASH_LATENCY_3) != HAL_OK)
	{
		Error_Handler();
	}
}

static void MX_ADC1_Init(void)
{

	ADC_ChannelConfTypeDef sConfig =
	{ 0 };

	/** Configure the global features of the ADC (Clock, Resolution, Data Alignment and number of conversion)
	 */
	hadc1.Instance = ADC1;
	hadc1.Init.ClockPrescaler = ADC_CLOCK_SYNC_PCLK_DIV2;
	hadc1.Init.Resolution = ADC_RESOLUTION_10B;
	hadc1.Init.ScanConvMode = ENABLE;
	hadc1.Init.ContinuousConvMode = DISABLE;
	hadc1.Init.DiscontinuousConvMode = DISABLE;
	hadc1.Init.ExternalTrigConvEdge = ADC_EXTERNALTRIGCONVEDGE_NONE;
	hadc1.Init.ExternalTrigConv = ADC_SOFTWARE_START;
	hadc1.Init.DataAlign = ADC_DATAALIGN_RIGHT;
	hadc1.Init.NbrOfConversion = 4;
	hadc1.Init.DMAContinuousRequests = DISABLE;
	hadc1.Init.EOCSelection = ADC_EOC_SINGLE_CONV;
	if (HAL_ADC_Init(&hadc1) != HAL_OK)
	{
		Error_Handler();
	}
	/** Configure for the selected ADC regular channel its corresponding rank in the sequencer and its sample time.
	 */
	sConfig.Channel = ADC_CHANNEL_3;
	sConfig.Rank = 1;
	sConfig.SamplingTime = ADC_SAMPLETIME_3CYCLES;
	if (HAL_ADC_ConfigChannel(&hadc1, &sConfig) != HAL_OK)
	{
		Error_Handler();
	}
	/** Configure for the selected ADC regular channel its corresponding rank in the sequencer and its sample time.
	 */
	sConfig.Channel = ADC_CHANNEL_4;
	sConfig.Rank = 2;
	if (HAL_ADC_ConfigChannel(&hadc1, &sConfig) != HAL_OK)
	{
		Error_Handler();
	}
	/** Configure for the selected ADC regular channel its corresponding rank in the sequencer and its sample time.
	 */
	sConfig.Channel = ADC_CHANNEL_5;
	sConfig.Rank = 3;
	if (HAL_ADC_ConfigChannel(&hadc1, &sConfig) != HAL_OK)
	{
		Error_Handler();
	}
	/** Configure for the selected ADC regular channel its corresponding rank in the sequencer and its sample time.
	 */
	sConfig.Channel = ADC_CHANNEL_6;
	sConfig.Rank = 4;
	if (HAL_ADC_ConfigChannel(&hadc1, &sConfig) != HAL_OK)
	{
		Error_Handler();
	}

}

static void MX_CAN1_Init(void)
{

	/* USER CODE BEGIN CAN1_Init 0 */
	CAN_FilterTypeDef sFilterConfig;

	/* USER CODE END CAN1_Init 0 */

	hcan1.Instance = CAN1;
	hcan1.Init.Prescaler = 2;
	hcan1.Init.Mode = CAN_MODE_NORMAL;
	hcan1.Init.SyncJumpWidth = CAN_SJW_1TQ;
	hcan1.Init.TimeSeg1 = CAN_BS1_12TQ;
	hcan1.Init.TimeSeg2 = CAN_BS2_2TQ;
	hcan1.Init.TimeTriggeredMode = DISABLE;
	hcan1.Init.AutoBusOff = DISABLE;
	hcan1.Init.AutoWakeUp = DISABLE;
	hcan1.Init.AutoRetransmission = DISABLE;
	hcan1.Init.ReceiveFifoLocked = DISABLE;
	hcan1.Init.TransmitFifoPriority = DISABLE;
	if (HAL_CAN_Init(&hcan1) != HAL_OK)
	{
		Error_Handler();
	}
	/* USER CODE BEGIN CAN1_Init 2 */
	sFilterConfig.FilterBank = 0;
	sFilterConfig.FilterMode = CAN_FILTERMODE_IDMASK;
	sFilterConfig.FilterScale = CAN_FILTERSCALE_32BIT;
	sFilterConfig.FilterIdHigh = 0x0000 << 5;
	sFilterConfig.FilterIdLow = 0x0000;
	sFilterConfig.FilterMaskIdHigh = 0x0000 << 5;
	sFilterConfig.FilterMaskIdLow = 0x0000;
	//sFilterConfig.FilterFIFOAssignment = CAN_RX_FIFO0;
	sFilterConfig.FilterFIFOAssignment = 0;
	sFilterConfig.FilterActivation = ENABLE;
	//sFilterConfig.SlaveStartFilterBank = 14;
	sFilterConfig.SlaveStartFilterBank = 0;

	if (HAL_CAN_ConfigFilter(&hcan1, &sFilterConfig) != HAL_OK)
	{
		/* Filter configuration Error */
		Error_Handler();
	}

	/*##-5- Configure Transmission process #####################################*/
	TxHeader.StdId = 0x01;
	TxHeader.ExtId = 0x01;
	TxHeader.RTR = CAN_RTR_DATA;
	TxHeader.IDE = CAN_ID_STD;
	TxHeader.DLC = 8;
	TxHeader.TransmitGlobalTime = DISABLE;
	/* USER CODE END CAN1_Init 2 */

}

static void MX_SDIO_SD_Init(void)
{

	hsd.Instance = SDIO;
	hsd.Init.ClockEdge = SDIO_CLOCK_EDGE_RISING;
	hsd.Init.ClockBypass = SDIO_CLOCK_BYPASS_DISABLE;
	hsd.Init.ClockPowerSave = SDIO_CLOCK_POWER_SAVE_DISABLE;
	hsd.Init.BusWide = SDIO_BUS_WIDE_1B;
	hsd.Init.HardwareFlowControl = SDIO_HARDWARE_FLOW_CONTROL_DISABLE;
	hsd.Init.ClockDiv = 1;

}

static void MX_SPI2_Init(void)
{

	/* SPI2 parameter configuration*/
	hspi2.Instance = SPI2;
	hspi2.Init.Mode = SPI_MODE_MASTER;
	hspi2.Init.Direction = SPI_DIRECTION_2LINES;
	hspi2.Init.DataSize = SPI_DATASIZE_8BIT;
	hspi2.Init.CLKPolarity = SPI_POLARITY_LOW;
	hspi2.Init.CLKPhase = SPI_PHASE_1EDGE;
	hspi2.Init.NSS = SPI_NSS_SOFT;
	hspi2.Init.BaudRatePrescaler = SPI_BAUDRATEPRESCALER_2;
	hspi2.Init.FirstBit = SPI_FIRSTBIT_MSB;
	hspi2.Init.TIMode = SPI_TIMODE_DISABLE;
	hspi2.Init.CRCCalculation = SPI_CRCCALCULATION_DISABLE;
	hspi2.Init.CRCPolynomial = 10;
	if (HAL_SPI_Init(&hspi2) != HAL_OK)
	{
		Error_Handler();
	}

}

static void MX_TIM3_Init(void)
{

	LL_TIM_InitTypeDef TIM_InitStruct =
	{ 0 };

	/* Peripheral clock enable */
	LL_APB1_GRP1_EnableClock(LL_APB1_GRP1_PERIPH_TIM3);

	/* TIM3 interrupt Init */
	NVIC_SetPriority(TIM3_IRQn,
			NVIC_EncodePriority(NVIC_GetPriorityGrouping(), 1, 0));
	NVIC_EnableIRQ(TIM3_IRQn);

	TIM_InitStruct.Prescaler = 5999;
	TIM_InitStruct.CounterMode = LL_TIM_COUNTERMODE_UP;
	TIM_InitStruct.Autoreload = 44;
	TIM_InitStruct.ClockDivision = LL_TIM_CLOCKDIVISION_DIV1;
	LL_TIM_Init(TIM3, &TIM_InitStruct);
	LL_TIM_DisableARRPreload(TIM3);
	LL_TIM_SetClockSource(TIM3, LL_TIM_CLOCKSOURCE_INTERNAL);
	LL_TIM_SetTriggerOutput(TIM3, LL_TIM_TRGO_RESET);
	LL_TIM_DisableMasterSlaveMode(TIM3);

}

static void MX_TIM8_Init(void)
{

	TIM_Encoder_InitTypeDef sConfig =
	{ 0 };
	TIM_MasterConfigTypeDef sMasterConfig =
	{ 0 };

	htim8.Instance = TIM8;
	htim8.Init.Prescaler = 0;
	htim8.Init.CounterMode = TIM_COUNTERMODE_UP;
	htim8.Init.Period = 65535;
	htim8.Init.ClockDivision = TIM_CLOCKDIVISION_DIV1;
	htim8.Init.RepetitionCounter = 0;
	htim8.Init.AutoReloadPreload = TIM_AUTORELOAD_PRELOAD_ENABLE;
	sConfig.EncoderMode = TIM_ENCODERMODE_TI1;
	sConfig.IC1Polarity = TIM_ICPOLARITY_RISING;
	sConfig.IC1Selection = TIM_ICSELECTION_DIRECTTI;
	sConfig.IC1Prescaler = TIM_ICPSC_DIV1;
	sConfig.IC1Filter = 0;
	sConfig.IC2Polarity = TIM_ICPOLARITY_RISING;
	sConfig.IC2Selection = TIM_ICSELECTION_DIRECTTI;
	sConfig.IC2Prescaler = TIM_ICPSC_DIV1;
	sConfig.IC2Filter = 0;
	if (HAL_TIM_Encoder_Init(&htim8, &sConfig) != HAL_OK)
	{
		Error_Handler();
	}
	sMasterConfig.MasterOutputTrigger = TIM_TRGO_RESET;
	sMasterConfig.MasterSlaveMode = TIM_MASTERSLAVEMODE_DISABLE;
	if (HAL_TIMEx_MasterConfigSynchronization(&htim8, &sMasterConfig) != HAL_OK)
	{
		Error_Handler();
	}

}

static void MX_USART2_UART_Init(void)
{

	huart2.Instance = USART2;
	huart2.Init.BaudRate = 115200;
	huart2.Init.WordLength = UART_WORDLENGTH_8B;
	huart2.Init.StopBits = UART_STOPBITS_1;
	huart2.Init.Parity = UART_PARITY_NONE;
	huart2.Init.Mode = UART_MODE_TX_RX;
	huart2.Init.HwFlowCtl = UART_HWCONTROL_NONE;
	huart2.Init.OverSampling = UART_OVERSAMPLING_16;
	if (HAL_UART_Init(&huart2) != HAL_OK)
	{
		Error_Handler();
	}

}

static void MX_USART3_UART_Init(void)
{

	huart3.Instance = USART3;
	huart3.Init.BaudRate = 115200;
	huart3.Init.WordLength = UART_WORDLENGTH_8B;
	huart3.Init.StopBits = UART_STOPBITS_1;
	huart3.Init.Parity = UART_PARITY_NONE;
	huart3.Init.Mode = UART_MODE_TX_RX;
	huart3.Init.HwFlowCtl = UART_HWCONTROL_NONE;
	huart3.Init.OverSampling = UART_OVERSAMPLING_16;
	if (HAL_UART_Init(&huart3) != HAL_OK)
	{
		Error_Handler();
	}

}

static void MX_DMA_Init(void)
{

	/* DMA controller clock enable */
	__HAL_RCC_DMA2_CLK_ENABLE();
	__HAL_RCC_DMA1_CLK_ENABLE();

	/* DMA interrupt init */
	/* DMA1_Stream3_IRQn interrupt configuration */
	HAL_NVIC_SetPriority(DMA1_Stream3_IRQn, 1, 0);
	HAL_NVIC_EnableIRQ(DMA1_Stream3_IRQn);
	/* DMA1_Stream4_IRQn interrupt configuration */
	HAL_NVIC_SetPriority(DMA1_Stream4_IRQn, 1, 0);
	HAL_NVIC_EnableIRQ(DMA1_Stream4_IRQn);
	/* DMA1_Stream5_IRQn interrupt configuration */
	HAL_NVIC_SetPriority(DMA1_Stream5_IRQn, 1, 0);
	HAL_NVIC_EnableIRQ(DMA1_Stream5_IRQn);
	/* DMA1_Stream6_IRQn interrupt configuration */
	HAL_NVIC_SetPriority(DMA1_Stream6_IRQn, 1, 0);
	HAL_NVIC_EnableIRQ(DMA1_Stream6_IRQn);
	/* DMA2_Stream0_IRQn interrupt configuration */
	HAL_NVIC_SetPriority(DMA2_Stream0_IRQn, 1, 0);
	HAL_NVIC_EnableIRQ(DMA2_Stream0_IRQn);
	/* DMA2_Stream3_IRQn interrupt configuration */
	HAL_NVIC_SetPriority(DMA2_Stream3_IRQn, 1, 0);
	HAL_NVIC_EnableIRQ(DMA2_Stream3_IRQn);
	/* DMA2_Stream6_IRQn interrupt configuration */
	HAL_NVIC_SetPriority(DMA2_Stream6_IRQn, 1, 0);
	HAL_NVIC_EnableIRQ(DMA2_Stream6_IRQn);

}

static void MX_GPIO_Init(void)
{
	GPIO_InitTypeDef GPIO_InitStruct =
	{ 0 };

	/* GPIO Ports Clock Enable */
	__HAL_RCC_GPIOC_CLK_ENABLE();
	__HAL_RCC_GPIOH_CLK_ENABLE();
	__HAL_RCC_GPIOA_CLK_ENABLE();
	__HAL_RCC_GPIOB_CLK_ENABLE();
	__HAL_RCC_GPIOF_CLK_ENABLE();
	__HAL_RCC_GPIOE_CLK_ENABLE();
	__HAL_RCC_GPIOD_CLK_ENABLE();
	__HAL_RCC_GPIOG_CLK_ENABLE();

	/*Configure GPIO pin Output Level */
	HAL_GPIO_WritePin(GPIOB, LD1_Pin | LD3_Pin | LD2_Pin, GPIO_PIN_RESET);

	/*Configure GPIO pin Output Level */
	HAL_GPIO_WritePin(STROBE_DRV_GPIO_Port, STROBE_DRV_Pin, GPIO_PIN_RESET);

	/*Configure GPIO pin Output Level */
	HAL_GPIO_WritePin(GPIOG,
			SIG_SHUTTER_Pin | SIG_AUTOFOCUS_Pin | USB_PowerSW_Pin
					| ENCODER_Z_Pin | CS0_Pin | CS1_Pin | CS2_Pin | CS3_Pin,
			GPIO_PIN_RESET);

	/*Configure GPIO pins : LD1_Pin LD3_Pin LD2_Pin */
	GPIO_InitStruct.Pin = LD1_Pin | LD3_Pin | LD2_Pin;
	GPIO_InitStruct.Mode = GPIO_MODE_OUTPUT_PP;
	GPIO_InitStruct.Pull = GPIO_NOPULL;
	GPIO_InitStruct.Speed = GPIO_SPEED_FREQ_VERY_HIGH;
	HAL_GPIO_Init(GPIOB, &GPIO_InitStruct);

	/*Configure GPIO pin : PWRCHECK_Pin */
	GPIO_InitStruct.Pin = PWRCHECK_Pin;
	GPIO_InitStruct.Mode = GPIO_MODE_INPUT;
	GPIO_InitStruct.Pull = GPIO_PULLDOWN;
	HAL_GPIO_Init(PWRCHECK_GPIO_Port, &GPIO_InitStruct);

	/*Configure GPIO pin : STROBE_DRV_Pin */
	GPIO_InitStruct.Pin = STROBE_DRV_Pin;
	GPIO_InitStruct.Mode = GPIO_MODE_OUTPUT_PP;
	GPIO_InitStruct.Pull = GPIO_NOPULL;
	GPIO_InitStruct.Speed = GPIO_SPEED_FREQ_VERY_HIGH;
	HAL_GPIO_Init(STROBE_DRV_GPIO_Port, &GPIO_InitStruct);

	/*Configure GPIO pins : STROBE0_Pin STROBE1_Pin STROBE2_Pin STROBE3_Pin
	 STROBE_CHK_Pin */
	GPIO_InitStruct.Pin = STROBE0_Pin | STROBE1_Pin | STROBE2_Pin | STROBE3_Pin
			| STROBE_CHK_Pin;
	GPIO_InitStruct.Mode = GPIO_MODE_IT_RISING;
	GPIO_InitStruct.Pull = GPIO_NOPULL;
	HAL_GPIO_Init(GPIOE, &GPIO_InitStruct);

	/*Configure GPIO pin : CardDetect_Pin */
	GPIO_InitStruct.Pin = CardDetect_Pin;
	GPIO_InitStruct.Mode = GPIO_MODE_INPUT;
	GPIO_InitStruct.Pull = GPIO_PULLUP;
	HAL_GPIO_Init(CardDetect_GPIO_Port, &GPIO_InitStruct);

	/*Configure GPIO pin : SIG_SHUTTER_Pin */
	GPIO_InitStruct.Pin = SIG_SHUTTER_Pin;
	GPIO_InitStruct.Mode = GPIO_MODE_OUTPUT_PP;
	GPIO_InitStruct.Pull = GPIO_NOPULL;
	GPIO_InitStruct.Speed = GPIO_SPEED_FREQ_VERY_HIGH;
	HAL_GPIO_Init(SIG_SHUTTER_GPIO_Port, &GPIO_InitStruct);

	/*Configure GPIO pins : SIG_AUTOFOCUS_Pin USB_PowerSW_Pin ENCODER_Z_Pin CS0_Pin
	 CS1_Pin CS2_Pin CS3_Pin */
	GPIO_InitStruct.Pin = SIG_AUTOFOCUS_Pin | USB_PowerSW_Pin | ENCODER_Z_Pin
			| CS0_Pin | CS1_Pin | CS2_Pin | CS3_Pin;
	GPIO_InitStruct.Mode = GPIO_MODE_OUTPUT_PP;
	GPIO_InitStruct.Pull = GPIO_NOPULL;
	GPIO_InitStruct.Speed = GPIO_SPEED_FREQ_LOW;
	HAL_GPIO_Init(GPIOG, &GPIO_InitStruct);

	/*Configure GPIO pin : USB_OverCurrent_Pin */
	GPIO_InitStruct.Pin = USB_OverCurrent_Pin;
	GPIO_InitStruct.Mode = GPIO_MODE_INPUT;
	GPIO_InitStruct.Pull = GPIO_NOPULL;
	HAL_GPIO_Init(USB_OverCurrent_GPIO_Port, &GPIO_InitStruct);

	/* EXTI interrupt init*/
	HAL_NVIC_SetPriority(EXTI15_10_IRQn, 0, 0);
	HAL_NVIC_EnableIRQ(EXTI15_10_IRQn);

}

void Error_Handler(void)
{
}

/************************ (C) COPYRIGHT STMicroelectronics *****END OF FILE****/
